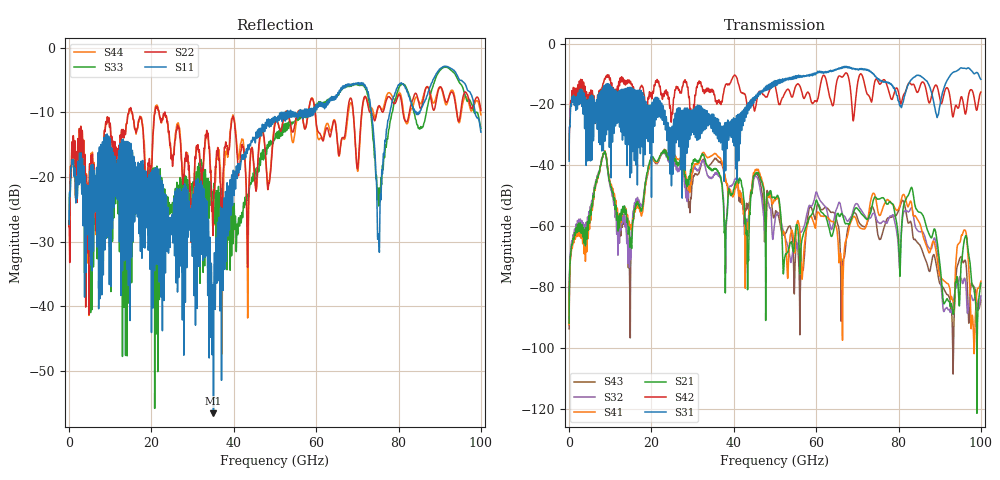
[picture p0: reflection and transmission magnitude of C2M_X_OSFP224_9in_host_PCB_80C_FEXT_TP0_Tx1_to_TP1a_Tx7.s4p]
# GHz S RI R 45
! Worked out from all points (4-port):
!   4000 points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, 25 MHz to 100 GHz, reference 45 ohm
!   strongest paths, dB at 25 MHz, 25.02 GHz, 50.02 GHz, 75.03 GHz, 100 GHz:
!     S31: -38.7, -27.5, -12.2, -11.8, -11.8
!     S42: -38.0, -22.6, -13.7, -12.5, -15.9
!     S21: -91.9, -38.0, -51.1, -51.2, -78.8
!     S41: -92.4, -37.1, -51.7, -55.3, -78.1
!     S32: -90.3, -39.2, -58.1, -58.8, -83.0
!     S43: -93.8, -38.1, -56.1, -63.1, -84.4
!   lowest |S11| = -56.6 dB at 35.08 GHz (marker M1), VSWR 1.00, Z = 45 - j0.128 ohm
!   |S11| at or under -10 dB: start of sweep to 52.28 GHz; 73.45 GHz to 77.94 GHz (4.492 GHz wide, 5.94 % of centre); 98.57 GHz to end of sweep (the widest 3 of 23)
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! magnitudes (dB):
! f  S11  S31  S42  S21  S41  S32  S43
! 25 MHz  -27.4  -38.7  -38.0  -91.9  -92.4  -90.3  -93.8
! 8.475 GHz  -14.2  -14.4  -12.4  -36.2  -36.2  -36.3  -36.3
! 14.72 GHz  -16.9  -18.8  -12.9  -65.3  -60.1  -69.6  -79.1
! 35.08 GHz  -56.6  -23.3  -15.7  -41.3  -36.4  -43.2  -38.3
! 56.35 GHz  -10.7  -11.1  -15.1  -66.7  -71.4  -62.0  -75.7
! 83.08 GHz  -8.5  -11.9  -13.4  -47.4  -52.1  -54.0  -59.0
! 100 GHz  -13.1  -11.8  -15.9  -78.8  -78.1  -83.0  -84.4
